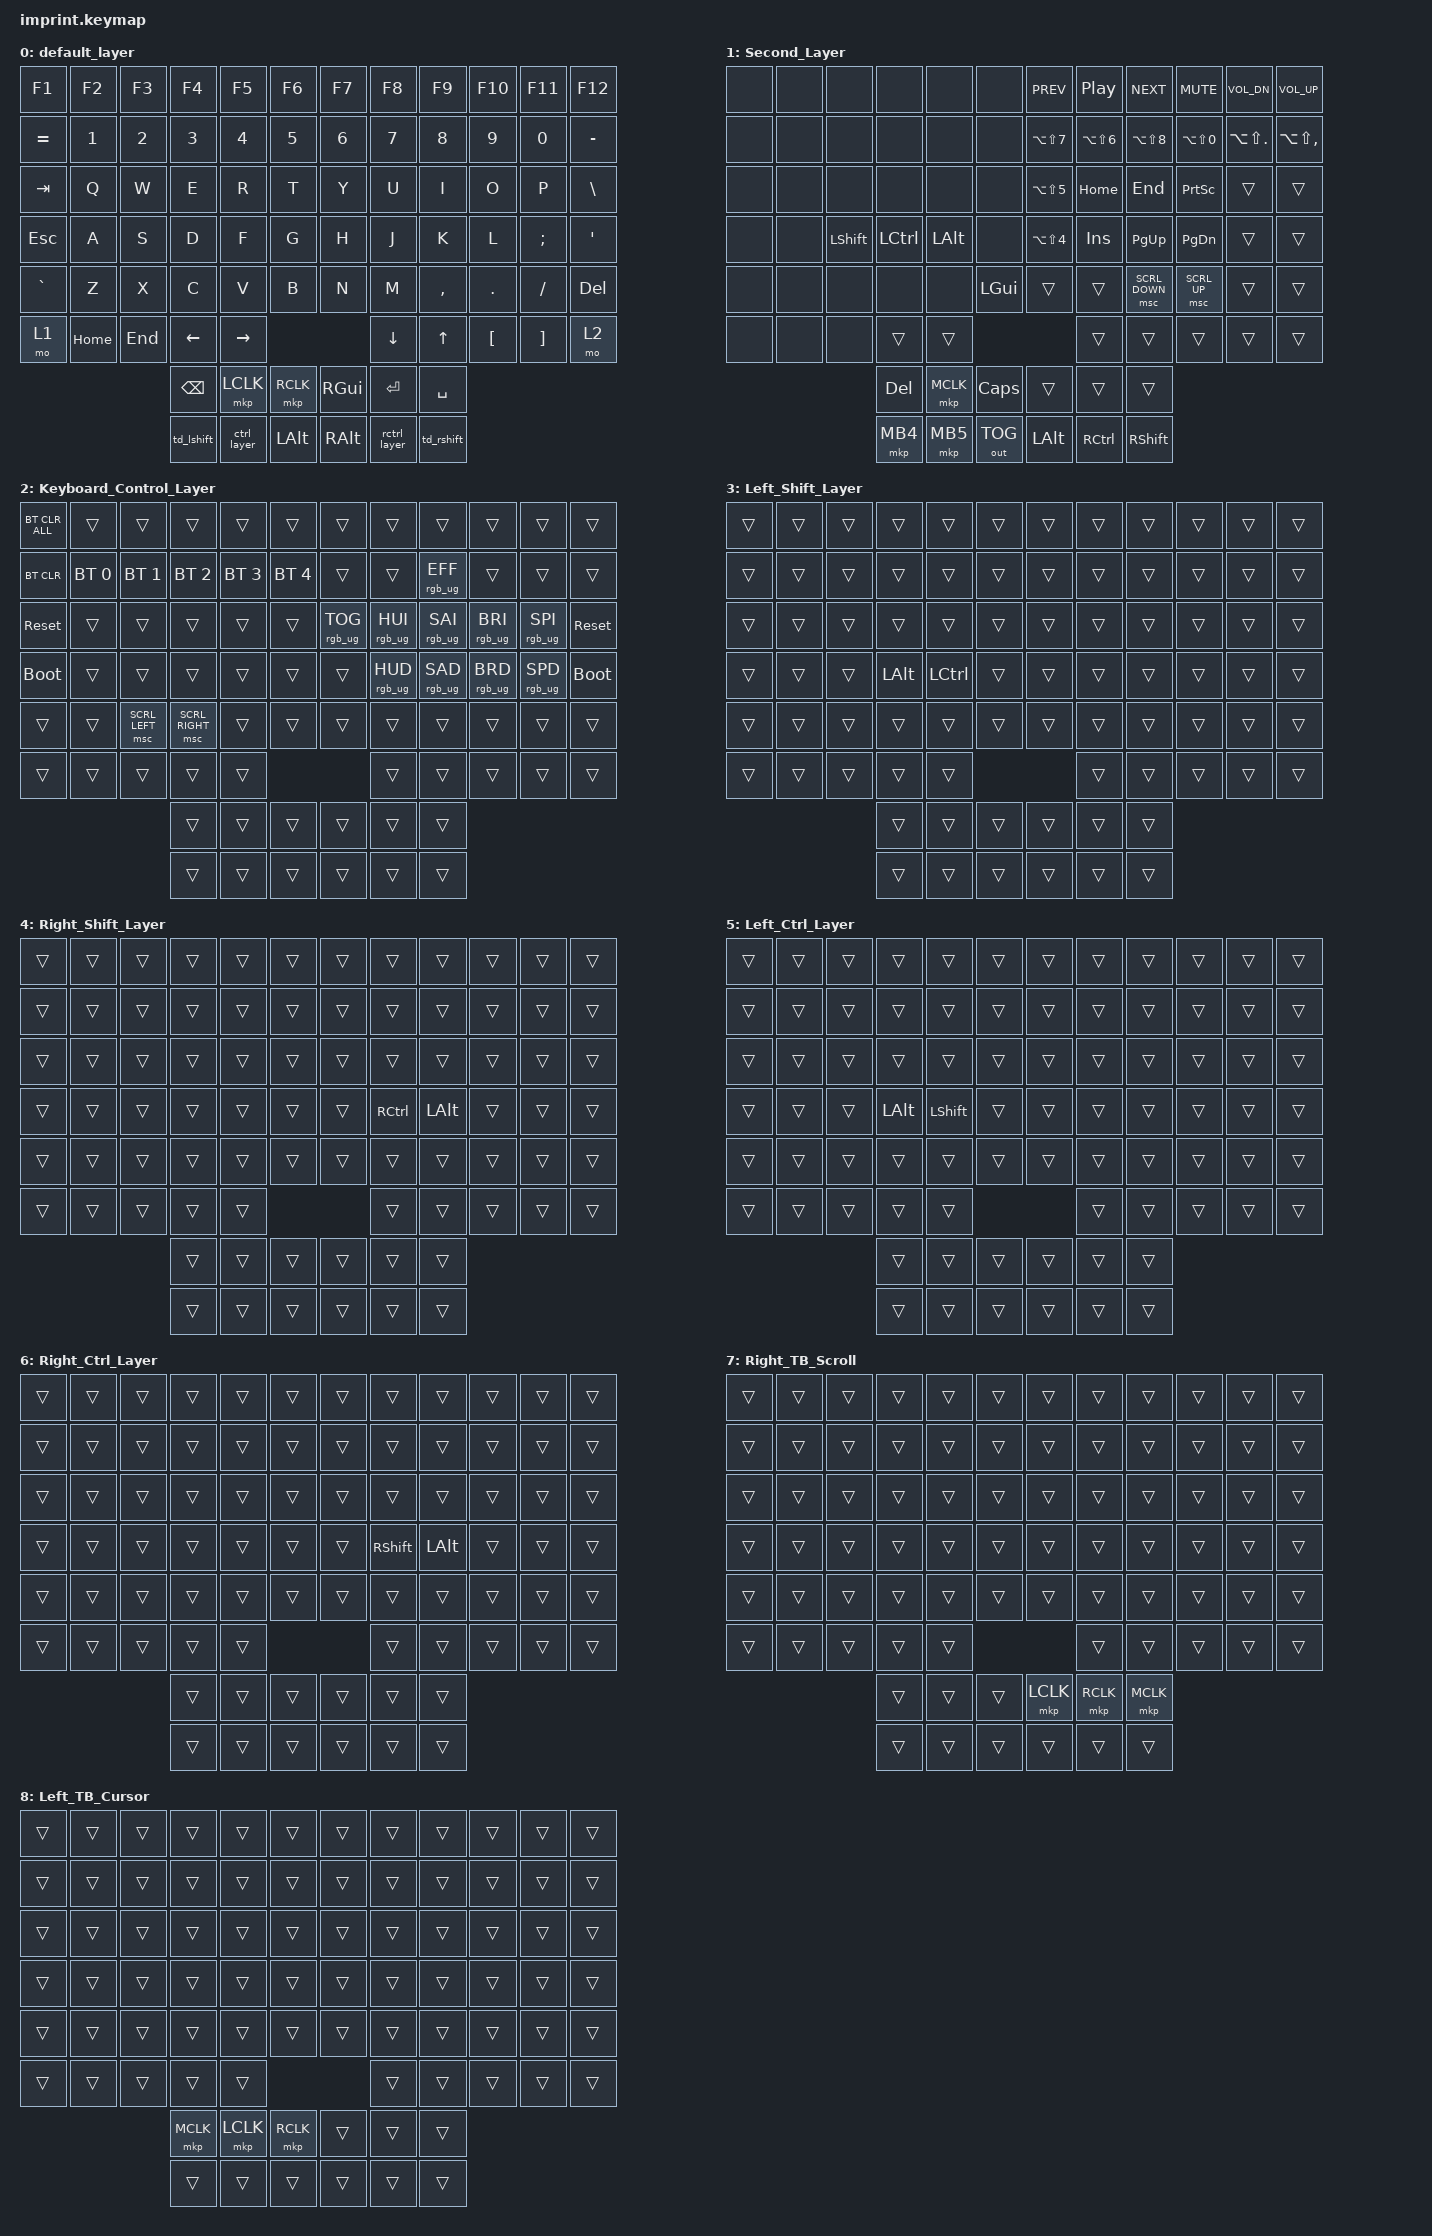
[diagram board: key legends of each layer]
#include <input/processors.dtsi>
#include <dt-bindings/zmk/input_transform.h>
#include <behaviors.dtsi>
#include <dt-bindings/zmk/bt.h>
#include <dt-bindings/zmk/keys.h>
// Key scroll speed (default 10): the maximum, reached after &msc's
// time-to-max-speed-ms (500, below), so a short press stays a fine scroll
// and holding it speeds up to 3x the old constant 20.
#define ZMK_POINTING_DEFAULT_SCRL_VAL 60
#include <dt-bindings/zmk/pointing.h>
#include <dt-bindings/zmk/rgb.h>
#include <dt-bindings/zmk/outputs.h>

/ {
    chosen { zmk,physical-layout = &physical_layout_imprint_function_row_full_bottom_row; };

    macros {
        shift_layer: shift_layer {
            compatible = "zmk,behavior-macro";
            #binding-cells = <0>;
            wait-ms = <0>;
            tap-ms = <0>;
            bindings = <&macro_press &mo 3 &kp LSHFT>,
                       <&macro_pause_for_release>,
                       <&macro_release &mo 3 &kp LSHFT>;
        };

        rshift_layer: rshift_layer {
            compatible = "zmk,behavior-macro";
            #binding-cells = <0>;
            wait-ms = <0>;
            tap-ms = <0>;
            bindings = <&macro_press &mo 4 &kp RSHFT>,
                       <&macro_pause_for_release>,
                       <&macro_release &mo 4 &kp RSHFT>;
        };

        ctrl_layer: ctrl_layer {
            compatible = "zmk,behavior-macro";
            #binding-cells = <0>;
            wait-ms = <0>;
            tap-ms = <0>;
            bindings = <&macro_press &mo 5 &kp LCTRL>,
                       <&macro_pause_for_release>,
                       <&macro_release &mo 5 &kp LCTRL>;
        };

        rctrl_layer: rctrl_layer {
            compatible = "zmk,behavior-macro";
            #binding-cells = <0>;
            wait-ms = <0>;
            tap-ms = <0>;
            bindings = <&macro_press &mo 6 &kp RCTRL>,
                       <&macro_pause_for_release>,
                       <&macro_release &mo 6 &kp RCTRL>;
        };
    };

    behaviors {
        td_lshift: td_lshift {
            compatible = "zmk,behavior-tap-dance";
            #binding-cells = <0>;
            tapping-term-ms = <200>;
            bindings = <&shift_layer>, <&caps_word>;
        };

        td_rshift: td_rshift {
            compatible = "zmk,behavior-tap-dance";
            #binding-cells = <0>;
            tapping-term-ms = <200>;
            bindings = <&rshift_layer>, <&caps_word>;
        };
    };

    combos {
        compatible = "zmk,combos";

        // H + J + , → activate right trackball scroll layer
        // require-prior-idle-ms: never while typing (no key pressed in the
        // last 150 ms), so fast words can't trigger it by accident.
        right_tb_scroll {
            timeout-ms = <50>;
            require-prior-idle-ms = <150>;
            key-positions = <42 43 56>;  // H, J, COMMA positions
            bindings = <&mo 7>;
        };

        // C + F + G → activate left trackball cursor layer
        left_tb_cursor {
            timeout-ms = <50>;
            require-prior-idle-ms = <150>;
            key-positions = <51 40 41>;  // C, F, G positions
            bindings = <&mo 8>;
        };
    };

    keymap {
        compatible = "zmk,keymap";

        // layer 0
        default_layer {
            bindings = <
&kp F1     &kp F2   &kp F3   &kp F4       &kp F5      &kp F6       &kp F7     &kp F8       &kp F9        &kp F10   &kp F11   &kp F12
&kp EQUAL  &kp N1   &kp N2   &kp N3       &kp N4      &kp N5       &kp N6     &kp N7       &kp N8        &kp N9    &kp N0    &kp MINUS
&kp TAB    &kp Q    &kp W    &kp E        &kp R       &kp T        &kp Y      &kp U        &kp I         &kp O     &kp P     &kp BSLH
&kp ESC    &kp A    &kp S    &kp D        &kp F       &kp G        &kp H      &kp J        &kp K         &kp L     &kp SEMI  &kp SQT
&kp GRAVE  &kp Z    &kp X    &kp C        &kp V       &kp B        &kp N      &kp M        &kp COMMA     &kp DOT   &kp FSLH  &kp DEL
&mo 1      &kp HOME &kp END  &kp LEFT     &kp RIGHT                           &kp DOWN     &kp UP        &kp LBKT  &kp RBKT  &mo 2
                             &kp BSPC     &mkp LCLK   &mkp RCLK    &kp RGUI   &kp RET      &kp SPACE
                             &td_lshift   &ctrl_layer &kp LALT     &kp RALT   &rctrl_layer &td_rshift
            >;
        };

        // layer 1
        Second_Layer {
            bindings = <
&none  &none  &none     &none     &none     &none           &kp C_PREV     &kp C_PP       &kp C_NEXT     &kp C_MUTE     &kp C_VOL_DN    &kp C_VOL_UP
&none  &none  &none     &none     &none     &none           &kp LA(LS(N7)) &kp LA(LS(N6)) &kp LA(LS(N8)) &kp LA(LS(N0)) &kp LA(LS(DOT)) &kp LA(LS(COMMA))
&none  &none  &none     &none     &none     &none           &kp LA(LS(N5)) &kp HOME       &kp END        &kp PSCRN      &trans          &trans
&none  &none  &kp LSHFT &kp LCTRL &kp LALT  &none           &kp LA(LS(N4)) &kp INS        &kp PG_UP      &kp PG_DN      &trans          &trans
&none  &none  &none     &none     &none     &kp LGUI        &trans         &trans         &msc SCRL_DOWN &msc SCRL_UP   &trans          &trans
&none  &none  &none     &trans    &trans                                   &trans         &trans         &trans         &trans          &trans
                        &kp DEL   &mkp MCLK &kp CAPS        &trans         &trans         &trans
                        &mkp MB4  &mkp MB5  &out OUT_TOG    &kp LALT       &kp RCTRL      &kp RSHFT
            >;
        };

        // layer 2
        Keyboard_Control_Layer {
            bindings = <
&bt BT_CLR_ALL &trans       &trans       &trans         &trans          &trans           &trans          &trans           &trans           &trans           &trans           &trans
&bt BT_CLR     &bt BT_SEL 0 &bt BT_SEL 1 &bt BT_SEL 2   &bt BT_SEL 3    &bt BT_SEL 4     &trans          &trans           &rgb_ug RGB_EFF  &trans           &trans           &trans
&sys_reset     &trans       &trans       &trans         &trans          &trans           &rgb_ug RGB_TOG &rgb_ug RGB_HUI  &rgb_ug RGB_SAI  &rgb_ug RGB_BRI  &rgb_ug RGB_SPI  &sys_reset
&bootloader    &trans       &trans       &trans         &trans          &trans           &trans          &rgb_ug RGB_HUD  &rgb_ug RGB_SAD  &rgb_ug RGB_BRD  &rgb_ug RGB_SPD  &bootloader
&trans         &trans       &msc SCRL_LEFT &msc SCRL_RIGHT &trans       &trans           &trans          &trans           &trans           &trans           &trans           &trans
&trans         &trans       &trans       &trans         &trans                                           &trans           &trans           &trans           &trans           &trans
                                         &trans         &trans          &trans           &trans          &trans           &trans
                                         &trans         &trans          &trans           &trans          &trans           &trans
            >;
        };

        // layer 3
        Left_Shift_Layer {
            bindings = <
&trans  &trans  &trans  &trans   &trans    &trans       &trans  &trans  &trans  &trans  &trans  &trans
&trans  &trans  &trans  &trans   &trans    &trans       &trans  &trans  &trans  &trans  &trans  &trans
&trans  &trans  &trans  &trans   &trans    &trans       &trans  &trans  &trans  &trans  &trans  &trans
&trans  &trans  &trans  &kp LALT &kp LCTRL &trans       &trans  &trans  &trans  &trans  &trans  &trans
&trans  &trans  &trans  &trans   &trans    &trans       &trans  &trans  &trans  &trans  &trans  &trans
&trans  &trans  &trans  &trans   &trans                         &trans  &trans  &trans  &trans  &trans
                        &trans   &trans    &trans       &trans  &trans  &trans
                        &trans   &trans    &trans       &trans  &trans  &trans
            >;
        };

        // layer 4
        Right_Shift_Layer {
            bindings = <
&trans  &trans  &trans  &trans  &trans  &trans       &trans  &trans    &trans   &trans  &trans  &trans
&trans  &trans  &trans  &trans  &trans  &trans       &trans  &trans    &trans   &trans  &trans  &trans
&trans  &trans  &trans  &trans  &trans  &trans       &trans  &trans    &trans   &trans  &trans  &trans
&trans  &trans  &trans  &trans  &trans  &trans       &trans  &kp RCTRL &kp LALT &trans  &trans  &trans
&trans  &trans  &trans  &trans  &trans  &trans       &trans  &trans    &trans   &trans  &trans  &trans
&trans  &trans  &trans  &trans  &trans                       &trans    &trans   &trans  &trans  &trans
                        &trans  &trans  &trans       &trans  &trans    &trans
                        &trans  &trans  &trans       &trans  &trans    &trans
            >;
        };

        // layer 5
        Left_Ctrl_Layer {
            bindings = <
&trans  &trans  &trans  &trans   &trans    &trans       &trans  &trans  &trans  &trans  &trans  &trans
&trans  &trans  &trans  &trans   &trans    &trans       &trans  &trans  &trans  &trans  &trans  &trans
&trans  &trans  &trans  &trans   &trans    &trans       &trans  &trans  &trans  &trans  &trans  &trans
&trans  &trans  &trans  &kp LALT &kp LSHFT &trans       &trans  &trans  &trans  &trans  &trans  &trans
&trans  &trans  &trans  &trans   &trans    &trans       &trans  &trans  &trans  &trans  &trans  &trans
&trans  &trans  &trans  &trans   &trans                         &trans  &trans  &trans  &trans  &trans
                        &trans   &trans    &trans       &trans  &trans  &trans
                        &trans   &trans    &trans       &trans  &trans  &trans
            >;
        };

        // layer 6
        Right_Ctrl_Layer {
            bindings = <
&trans  &trans  &trans  &trans  &trans  &trans       &trans  &trans    &trans   &trans  &trans  &trans
&trans  &trans  &trans  &trans  &trans  &trans       &trans  &trans    &trans   &trans  &trans  &trans
&trans  &trans  &trans  &trans  &trans  &trans       &trans  &trans    &trans   &trans  &trans  &trans
&trans  &trans  &trans  &trans  &trans  &trans       &trans  &kp RSHFT &kp LALT &trans  &trans  &trans
&trans  &trans  &trans  &trans  &trans  &trans       &trans  &trans    &trans   &trans  &trans  &trans
&trans  &trans  &trans  &trans  &trans                       &trans    &trans   &trans  &trans  &trans
                        &trans  &trans  &trans       &trans  &trans    &trans
                        &trans  &trans  &trans       &trans  &trans    &trans
            >;
        };

        // layer 7
        Right_TB_Scroll {
            bindings = <
&trans  &trans  &trans  &trans  &trans  &trans       &trans     &trans     &trans    &trans  &trans  &trans
&trans  &trans  &trans  &trans  &trans  &trans       &trans     &trans     &trans    &trans  &trans  &trans
&trans  &trans  &trans  &trans  &trans  &trans       &trans     &trans     &trans    &trans  &trans  &trans
&trans  &trans  &trans  &trans  &trans  &trans       &trans     &trans     &trans    &trans  &trans  &trans
&trans  &trans  &trans  &trans  &trans  &trans       &trans     &trans     &trans    &trans  &trans  &trans
&trans  &trans  &trans  &trans  &trans                          &trans     &trans    &trans  &trans  &trans
                        &trans  &trans  &trans       &mkp LCLK  &mkp RCLK  &mkp MCLK
                        &trans  &trans  &trans       &trans     &trans     &trans
            >;
        };

        // layer 8
        Left_TB_Cursor {
            bindings = <
&trans  &trans  &trans  &trans     &trans     &trans       &trans  &trans  &trans  &trans  &trans  &trans
&trans  &trans  &trans  &trans     &trans     &trans       &trans  &trans  &trans  &trans  &trans  &trans
&trans  &trans  &trans  &trans     &trans     &trans       &trans  &trans  &trans  &trans  &trans  &trans
&trans  &trans  &trans  &trans     &trans     &trans       &trans  &trans  &trans  &trans  &trans  &trans
&trans  &trans  &trans  &trans     &trans     &trans       &trans  &trans  &trans  &trans  &trans  &trans
&trans  &trans  &trans  &trans     &trans                          &trans  &trans  &trans  &trans  &trans
                        &mkp MCLK  &mkp LCLK  &mkp RCLK    &trans  &trans  &trans
                        &trans     &trans     &trans       &trans  &trans  &trans
            >;
        };
    };
};

&caps_word {
    continue-list = <UNDERSCORE MINUS BACKSPACE DELETE DOT>;
};

&msc {
    acceleration-exponent = <1>;   // 0 = constant speed, 1 = linear accel, 2 = quadratic
    time-to-max-speed-ms = <500>;  // how fast it ramps up to ZMK_POINTING_DEFAULT_SCRL_VAL
    delay-ms = <0>;                // delay before movement starts
};

// Trackball scroll snap (kot149/zmk-scroll-snap, in config/west.yml): a
// trackball's scroll goes along one axis at a time, the dominant one, instead
// of both interleaved. It waits for the first require-n-samples events of a
// roll (each one axis), keeps their motion and sends it along the axis with
// the larger sum, keeps that axis while it stays the dominant one or for
// lock-duration-ms after, and starts over after idle-reset-timeout-ms without
// motion. Thresholds are [num den]: vertical if |y/x| > y-threshold,
// horizontal if |y/x| < x-threshold; 1/1 for both is the dominant axis with
// no bias (the module's default leaves 5/8 to 1 unsent). xy-threshold is
// the module's unimplemented diagonal (0 0: off). One instance per trackball,
// so the two don't share samples. Its code runs on the central (left half),
// like the rest of both trackballs' input processors.
#define SCROLL_SNAP_SETTINGS                        \
    compatible = "zmk,input-processor-scroll-snap"; \
    #input-processor-cells = <0>;                   \
    x-threshold = <1 1>;                            \
    y-threshold = <1 1>;                            \
    xy-threshold = <0 0>;                           \
    require-n-samples = <10>;                       \
    immediate-snap-threshold = <1500>;              \
    lock-duration-ms = <200>;                       \
    idle-reset-timeout-ms = <200>;

/ {
    scroll_snap_left: scroll_snap_left { SCROLL_SNAP_SETTINGS };
    scroll_snap_right: scroll_snap_right { SCROLL_SNAP_SETTINGS };
};

// right hand trackball configuration

&trackball_peripheral_listener {
    input-processors =
        // reduce mouse sensitivity
        <&zip_xy_scaler 1 2>;

    scroll_mode {
        layers = <7>;
        input-processors =
            <&zip_xy_scaler 1 2>,
            <&zip_xy_to_scroll_mapper>,
            <&scroll_snap_right>,
            <&zip_scroll_transform INPUT_TRANSFORM_Y_INVERT>;
    };
};

//left hand trackball configuration

&trackball_central_listener {
    input-processors =
        // multiply sensitivity by 1, divide by 2 (make it slower for scrolling),
        <&zip_xy_scaler 1 2>,
        // make this trackball output scrolling events by default instead of cursor movement,
        <&zip_xy_to_scroll_mapper>,
        // one axis at a time (see SCROLL_SNAP_SETTINGS),
        <&scroll_snap_left>,
        // invert vertical scrolling so that the view moves in the same direction as the top of the trackball.,
        <&zip_scroll_transform INPUT_TRANSFORM_Y_INVERT>;

    cursor_mode {
        layers = <8>;
        input-processors =
            <&zip_xy_scaler 1 2>;
    };
};
